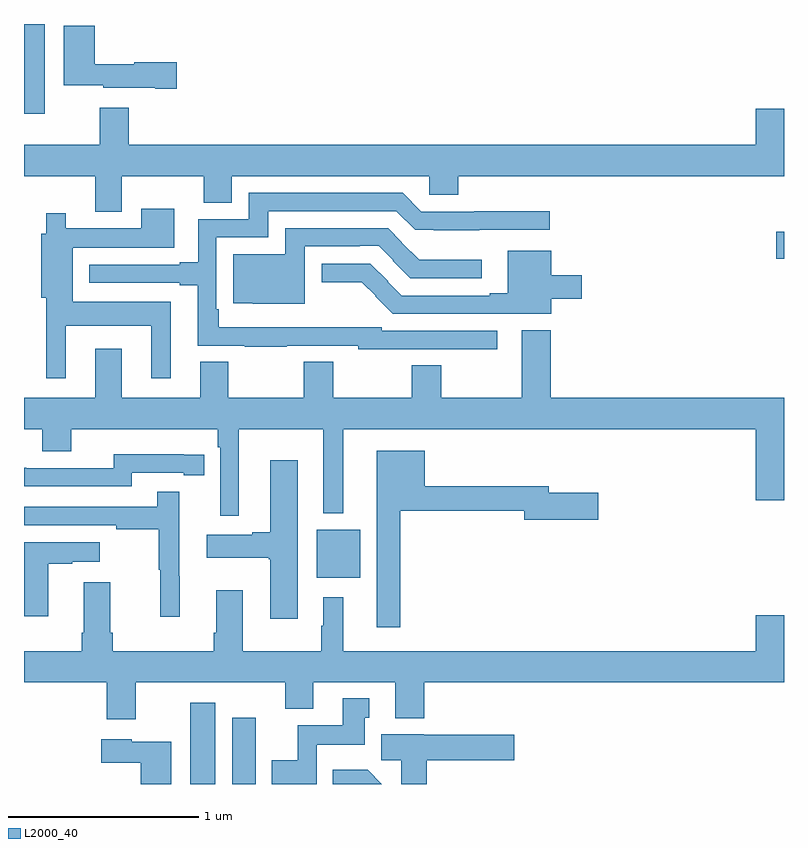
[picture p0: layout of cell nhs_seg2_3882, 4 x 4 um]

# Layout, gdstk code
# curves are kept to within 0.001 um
import gdstk
lib = gdstk.Library(unit=1e-6, precision=1e-09)
def R(c, l, rs):  # rectangles x0, y0, x1, y1
    for r in rs: c.add(gdstk.rectangle(r[:2], r[2:], *l))
def P(c, l, *ps):  # polygons
    for p in ps: c.add(gdstk.Polygon(p, *l))
L2000_40 = (2000, 40)

nhs_seg2_3882 = lib.new_cell('nhs_seg2_3882')
R(nhs_seg2_3882, L2000_40, [(317.876,613.8,318.007,614.227), (318.095,613.8,318.22,614.149), (318.542,614.885,318.769,615.139), (320.958,616.565,321,616.707), (317,617.328,317.11,617.8)])
P(nhs_seg2_3882, L2000_40, [(317.803,617.6),(317.58,617.6),(317.58,617.587),(317.372,617.587),(317.372,617.791),(317.21,617.791),(317.21,617.477),(317.418,617.477),(317.418,617.465),(317.69,617.465),(317.69,617.458),(317.803,617.458)],
  [(317.515,617),(317.947,617),(317.947,616.858),(318.094,616.858),(318.094,617),(319.134,617),(319.134,616.902),(319.286,616.902),(319.286,617),(321,617),(321,617.353),(320.852,617.353),(320.852,617.164),(317.552,617.164),(317.552,617.359),(317.399,617.359),(317.399,617.164),(317,617.164),(317,617),(317.375,617),(317.375,616.811),(317.515,616.811)],
  [(319.492,616.185),(318.882,616.185),(318.882,616.204),(318.026,616.203),(318.026,616.3),(318.012,616.3),(318.012,616.677),(318.286,616.677),(318.286,616.815),(318.96,616.815),(319.059,616.716),(319.156,616.715),(319.768,616.716),(319.768,616.814),(319.369,616.814),(319.369,616.812),(319.092,616.812),(318.993,616.911),(318.182,616.911),(318.182,616.773),(317.916,616.773),(317.916,616.546),(317.819,616.546),(317.819,616.533),(317.343,616.533),(317.343,616.437),(317.819,616.437),(317.819,616.425),(317.915,616.425),(317.915,616.107),(318.163,616.107),(318.163,616.102),(318.383,616.102),(318.383,616.107),(318.759,616.107),(318.759,616.089),(319.492,616.089)],
  [(317.221,616.211),(317.669,616.211),(317.669,615.936),(317.773,615.936),(317.773,616.339),(317.257,616.339),(317.257,616.622),(317.791,616.622),(317.791,616.828),(317.618,616.828),(317.618,616.726),(317.221,616.726),(317.221,616.804),(317.117,616.804),(317.117,616.695),(317.09,616.695),(317.09,616.359),(317.117,616.359),(317.117,615.936),(317.221,615.936)],
  [(318.478,616.629),(318.767,616.629),(318.767,616.632),(318.867,616.632),(318.943,616.556),(318.941,616.554),(319.034,616.461),(319.408,616.461),(319.408,616.558),(319.079,616.558),(318.987,616.65),(318.989,616.652),(318.916,616.725),(318.374,616.725),(318.374,616.588),(318.102,616.588),(318.102,616.329),(318.478,616.328)],
  [(319.774,616.355),(319.936,616.355),(319.936,616.477),(319.774,616.477),(319.774,616.606),(319.547,616.606),(319.547,616.384),(319.451,616.384),(319.451,616.371),(318.987,616.371),(318.914,616.444),(318.916,616.446),(318.823,616.539),(318.567,616.539),(318.567,616.441),(318.778,616.441),(318.85,616.369),(318.848,616.368),(318.941,616.275),(319.774,616.275)],
  [(318.13,615.668),(318.575,615.668),(318.575,615.224),(318.679,615.224),(318.679,615.668),(320.852,615.668),(320.852,615.294),(321,615.294),(321,615.832),(319.772,615.832),(319.772,616.189),(319.619,616.189),(319.619,615.832),(319.197,615.832),(319.197,616.004),(319.042,616.004),(319.042,615.832),(318.627,615.832),(318.627,616.022),(318.472,616.022),(318.472,615.832),(318.075,615.832),(318.075,616.022),(317.927,616.022),(317.927,615.832),(317.515,615.832),(317.515,616.09),(317.375,616.09),(317.375,615.832),(317,615.832),(317,615.668),(317.096,615.668),(317.096,615.551),(317.248,615.551),(317.248,615.668),(318.02,615.668),(318.02,615.572),(318.033,615.572),(318.033,615.213),(318.13,615.213)],
  [(318.979,615.238),(319.634,615.238),(319.634,615.191),(320.023,615.191),(320.023,615.333),(319.762,615.333),(319.762,615.367),(319.108,615.367),(319.108,615.553),(318.857,615.553),(318.857,614.625),(318.979,614.625)],
  [(317.568,615.438),(317.84,615.438),(317.84,615.426),(317.948,615.426),(317.948,615.534),(317.84,615.534),(317.84,615.535),(317.472,615.535),(317.472,615.462),(317.012,615.462),(317.012,615.464),(317,615.464),(317,615.366),(317.568,615.366)],
  [(318.442,615.505),(318.296,615.505),(318.296,615.125),(318.2,615.125),(318.2,615.112),(317.961,615.112),(317.961,614.99),(318.289,614.99),(318.289,614.983),(318.296,614.983),(318.296,614.67),(318.442,614.67)],
  [(317.819,614.894),(317.818,614.894),(317.818,615.337),(317.701,615.337),(317.701,615.258),(317,615.258),(317,615.162),(317.485,615.162),(317.485,615.142),(317.709,615.142),(317.709,614.928),(317.716,614.928),(317.716,614.679),(317.819,614.679)],
  [(317.128,614.959),(317.255,614.959),(317.255,614.969),(317.398,614.969),(317.398,615.073),(317,615.073),(317,614.682),(317.128,614.682)],
  [(317.587,614.336),(318.376,614.336),(318.376,614.195),(318.523,614.195),(318.523,614.336),(318.953,614.336),(318.953,614.147),(319.106,614.147),(319.106,614.336),(321,614.336),(321,614.689),(320.852,614.689),(320.852,614.5),(318.679,614.5),(318.679,614.782),(318.575,614.782),(318.575,614.633),(318.565,614.633),(318.565,614.5),(318.151,614.5),(318.151,614.821),(318.011,614.821),(318.011,614.596),(317.999,614.596),(317.999,614.5),(317.468,614.5),(317.468,614.596),(317.455,614.596),(317.455,614.863),(317.315,614.863),(317.315,614.596),(317.303,614.596),(317.303,614.5),(317,614.5),(317,614.336),(317.435,614.336),(317.435,614.142),(317.587,614.142)],
  [(318.54,614.006),(318.793,614.006),(318.793,614.148),(318.817,614.148),(318.817,614.251),(318.677,614.251),(318.677,614.11),(318.442,614.11),(318.442,613.924),(318.305,613.924),(318.305,613.8),(318.54,613.8)],
  [(319.121,613.925),(319.579,613.925),(319.579,614.059),(319.104,614.059),(319.104,614.062),(318.881,614.062),(318.881,613.924),(318.986,613.924),(318.986,613.8),(319.121,613.8)],
  [(317.776,614.023),(317.568,614.023),(317.568,614.035),(317.406,614.035),(317.406,613.913),(317.614,613.913),(317.614,613.8),(317.776,613.8)],
  [(318.808,613.876),(318.625,613.876),(318.625,613.8),(318.884,613.8)])

lib.write_gds('nhs_seg2_3882.gds')
